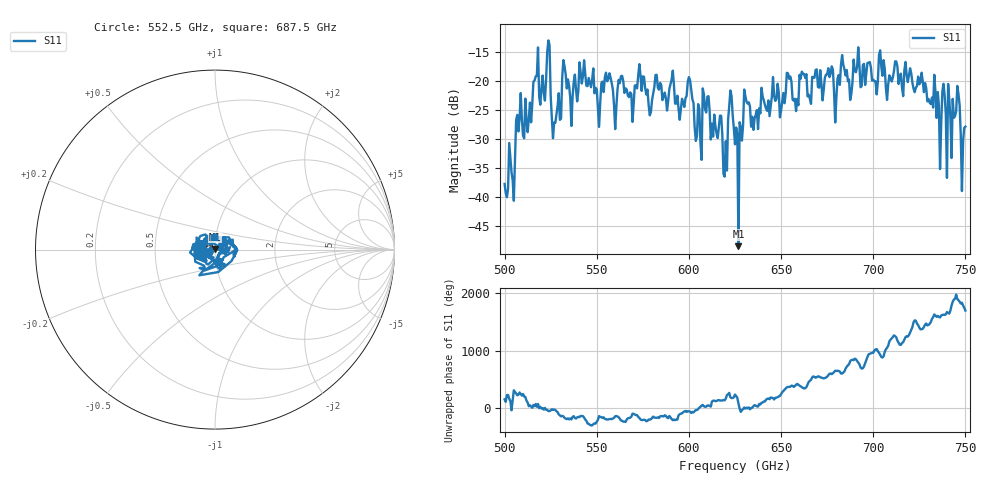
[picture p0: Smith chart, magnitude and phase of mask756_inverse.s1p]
!Created with skrf (http://scikit-rf.org).
# GHz S MA R 50.0
!freq magS11 angS11
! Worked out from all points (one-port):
!   401 points, 500 GHz to 750 GHz, reference 50 ohm
!   lowest |S11| = -48.5 dB at 626.9 GHz (marker M1), VSWR 1.01, Z = 50.1 + j0.37 ohm
!   |S11| at or under -10 dB: start of sweep to end of sweep
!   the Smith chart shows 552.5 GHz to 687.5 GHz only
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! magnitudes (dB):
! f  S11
! 500 GHz  -37.7
! 507.5 GHz  -28.7
! 513.8 GHz  -23.7
! 516.9 GHz  -19.2
! 520.6 GHz  -19.0
! 523.8 GHz  -13.0
! 526.9 GHz  -27.2
! 531.2 GHz  -19.4
! 541.9 GHz  -20.4
! 550.6 GHz  -24.7
! 556.2 GHz  -19.6
! 560 GHz  -28.3
! 562.5 GHz  -20.4
! 593.8 GHz  -22.5
! 600.6 GHz  -19.9
! 605.6 GHz  -24.7
! 608.8 GHz  -24.8
! 619.4 GHz  -36.5
! 622.5 GHz  -21.6
! 625 GHz  -30.9
! 626.9 GHz  -48.5
! 631.2 GHz  -23.6
! 635 GHz  -28.4
! 656.2 GHz  -23.2
! 687.5 GHz  -23.3
! 690.6 GHz  -18.5
! 718.8 GHz  -20.2
! 750 GHz  -27.9
